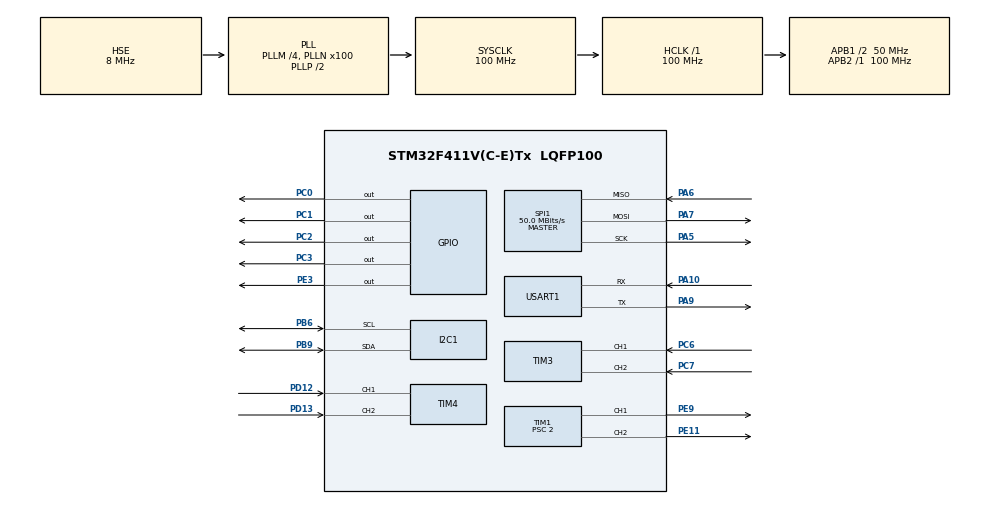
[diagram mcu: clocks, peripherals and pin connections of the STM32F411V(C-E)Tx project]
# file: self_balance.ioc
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FREERTOS.Tasks01=defaultTask,0,128,StartDefaultTask,Default,NULL,Dynamic,NULL,NULL
FREERTOS.configUSE_NEWLIB_REENTRANT=1
Mcu.Family=STM32F4
Mcu.Name=STM32F411V(C-E)Tx
Mcu.Package=LQFP100
NVIC.PriorityGroup=NVIC_PRIORITYGROUP_4
NVIC.TIM2_IRQn=true\:15\:0\:false\:false\:true\:false\:false\:true\:true
NVIC.TimeBase=TIM2_IRQn
NVIC.TimeBaseIP=TIM2
PA10.Mode=Asynchronous
PA10.Signal=USART1_RX
PA13.Mode=Serial_Wire
PA13.Signal=SYS_JTMS-SWDIO
PA14.Mode=Serial_Wire
PA14.Signal=SYS_JTCK-SWCLK
PA5.Mode=Full_Duplex_Master
PA5.Signal=SPI1_SCK
PA6.Mode=Full_Duplex_Master
PA6.Signal=SPI1_MISO
PA7.Mode=Full_Duplex_Master
PA7.Signal=SPI1_MOSI
PA9.Mode=Asynchronous
PA9.Signal=USART1_TX
PB6.Mode=I2C
PB6.Signal=I2C1_SCL
PB9.Mode=I2C
PB9.Signal=I2C1_SDA
PC0.Signal=GPIO_Output
PC1.Signal=GPIO_Output
PC2.Signal=GPIO_Output
PC3.Signal=GPIO_Output
PC6.Signal=S_TIM3_CH1
PC7.Signal=S_TIM3_CH2
PD12.Signal=S_TIM4_CH1
PD13.Signal=S_TIM4_CH2
PE11.Signal=S_TIM1_CH2
PE3.PinState=GPIO_PIN_SET
PE3.Signal=GPIO_Output
PE9.Signal=S_TIM1_CH1
PH0\ -\ OSC_IN.Mode=HSE-External-Oscillator
PH0\ -\ OSC_IN.Signal=RCC_OSC_IN
PH1\ -\ OSC_OUT.Mode=HSE-External-Oscillator
PH1\ -\ OSC_OUT.Signal=RCC_OSC_OUT
ProjectManager.HeapSize=0x200
ProjectManager.StackSize=0x400
ProjectManager.TargetToolchain=STM32CubeIDE
RCC.48MHZClocksFreq_Value=50000000
RCC.AHBFreq_Value=100000000
RCC.APB1CLKDivider=RCC_HCLK_DIV2
RCC.APB1Freq_Value=50000000
RCC.APB1TimFreq_Value=100000000
RCC.APB2Freq_Value=100000000
RCC.APB2TimFreq_Value=100000000
RCC.CortexFreq_Value=100000000
RCC.HCLKFreq_Value=100000000
RCC.HSE_VALUE=8000000
RCC.HSI_VALUE=16000000
RCC.LSE_VALUE=32768
RCC.PLLM=4
RCC.PLLN=100
RCC.PLLSourceVirtual=RCC_PLLSOURCE_HSE
RCC.SYSCLKFreq_VALUE=100000000
RCC.SYSCLKSource=RCC_SYSCLKSOURCE_PLLCLK
RCC.VCOOutputFreq_Value=200000000
SH.S_TIM1_CH1.0=TIM1_CH1,PWM Generation1 CH1
SH.S_TIM1_CH2.0=TIM1_CH2,PWM Generation2 CH2
SH.S_TIM3_CH1.0=TIM3_CH1,Encoder_Interface
SH.S_TIM3_CH2.0=TIM3_CH2,Encoder_Interface
SH.S_TIM4_CH1.0=TIM4_CH1,Encoder_Interface
SH.S_TIM4_CH2.0=TIM4_CH2,Encoder_Interface
SPI1.CalculateBaudRate=50.0 MBits/s
SPI1.Direction=SPI_DIRECTION_2LINES
SPI1.Mode=SPI_MODE_MASTER
SPI1.VirtualType=VM_MASTER
TIM1.Channel-PWM\ Generation1\ CH1=TIM_CHANNEL_1
TIM1.Channel-PWM\ Generation2\ CH2=TIM_CHANNEL_2
TIM1.Period=4096
TIM1.Prescaler=2
TIM3.EncoderMode=TIM_ENCODERMODE_TI12
TIM4.EncoderMode=TIM_ENCODERMODE_TI12
USART1.VirtualMode=VM_ASYNC
VP_FREERTOS_VS_CMSIS_V1.Mode=CMSIS_V1
VP_SYS_VS_tim2.Mode=TIM2
VP_TIM1_VS_ClockSourceINT.Mode=Internal
board=custom

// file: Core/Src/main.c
/* USER CODE BEGIN Header */
/**
  ******************************************************************************
  * @file           : main.c
  * @brief          : Main program body
  ******************************************************************************
  * @attention
  *
  * Copyright (c) 2025 STMicroelectronics.
  * All rights reserved.
  *
  * This software is licensed under terms that can be found in the LICENSE file
  * in the root directory of this software component.
  * If no LICENSE file comes with this software, it is provided AS-IS.
  *
  ******************************************************************************
  */
/* USER CODE END Header */
#include "main.h"

/* USER CODE BEGIN Includes */
#include "FreeRTOS.h"
#include "task.h"
#include "timers.h"
#include "queue.h"
#include "semphr.h"
#include "event_groups.h"
#include "LSM303.h"
#include "I3G4250D.h"
#include "Kalman.h"
#include "PID.h"
#include "Encoder.h"
#include <string.h>
#include <stdio.h>
#include <math.h>

/* USER CODE END Includes */

/* USER CODE BEGIN PD */
#define MOTOR_MIN_RIGHT 530
#define MOTOR_MIN_LEFT 450
#define MOTOR_MAX_PWM 999
/* USER CODE END PD */

I2C_HandleTypeDef hi2c1;

SPI_HandleTypeDef hspi1;

TIM_HandleTypeDef htim1;
TIM_HandleTypeDef htim3;
TIM_HandleTypeDef htim4;

UART_HandleTypeDef huart1;
/* USER CODE BEGIN PV */
uint8_t whoami = 0;
// EncoderData speed;
KalmanFilter kf;
float roll;
float speed_left;
float speed_right;
float velocity;
/* USER CODE END PV */

void SystemClock_Config(void);
static void MX_GPIO_Init(void);
static void MX_I2C1_Init(void);
static void MX_SPI1_Init(void);
static void MX_TIM1_Init(void);
static void MX_TIM3_Init(void);
static void MX_TIM4_Init(void);
static void MX_USART1_UART_Init(void);

/* USER CODE BEGIN PFP */
void MotorControlLeft(float Signal);
void MotorControlRight(float Signal);
/* USER CODE END PFP */

/* USER CODE BEGIN 0 */
//TASK HANDLER
xTaskHandle IMU_Task_Handle;
xTaskHandle Control_Task_Handle;
//QUEUE HANDLER
xQueueHandle Angle_Queue;
//TASK FUNCTION
void IMU_Task(void *argument);
void Control_Task(void *argument);
/* USER CODE END 0 */

int main(void)
{

  /* MCU Configuration--------------------------------------------------------*/

  /* Reset of all peripherals, Initializes the Flash interface and the Systick. */
  HAL_Init();

  /* Configure the system clock */
  SystemClock_Config();

  /* Initialize all configured peripherals */
  MX_GPIO_Init();
  MX_I2C1_Init();
  MX_SPI1_Init();
  MX_TIM1_Init();
  MX_TIM3_Init();
  MX_TIM4_Init();
  MX_USART1_UART_Init();
  /* USER CODE BEGIN 2 */
  I3G4250D_Init();
  LSM303_Init();
  Kalman_Init(&kf, 0.005f);
  HAL_TIM_PWM_Start(&htim1, TIM_CHANNEL_1);
  HAL_TIM_PWM_Start(&htim1, TIM_CHANNEL_2);
  Encoder_Init(&htim4, &htim3);
  // PIDController left_pid;
  // PIDController right_pid;
  // PIDController_Init(&left_pid);
  // left_pid.Kp = 500.0f;
  // left_pid.Ki = 450.0f;
  // left_pid.Kd = 0.0f;
  // left_pid.limMax = 4096.0f;
  // left_pid.limMin = -4096.0f;
  // left_pid.limMaxInt = 4096.0f;
  // left_pid.limMinInt = -4096.0f;
  // PIDController_Init(&right_pid);
  // right_pid.Kp = 520.0f;
  // right_pid.Ki = 450.0f;
  // right_pid.Kd = 0.0f;
  // right_pid.limMax = 4096.0f;
  // right_pid.limMin = -4096.0f;
  // right_pid.limMaxInt = 4096.0f;
  // right_pid.limMinInt = -4096.0f;
  Angle_Queue = xQueueCreate(1, sizeof(float));
  xTaskCreate(IMU_Task, "IMU Task", 256, NULL, 4, &IMU_Task_Handle);
  xTaskCreate(Control_Task, "Control Task", 256, NULL, 5, &Control_Task_Handle);
  vTaskStartScheduler();
  // TickType_t lasttime = HAL_GetTick();
  // HAL_Delay(15000);
  /* USER CODE END 2 */

  /* We should never get here as control is now taken by the scheduler */

  /* Infinite loop */
  /* USER CODE BEGIN WHILE */
  while (1)
  {
    // uint32_t now = HAL_GetTick();
    // static uint32_t lasttime = 0;
    // if (now - lasttime >= 5)
    // {
    //   lasttime = now;
    //   Encoder_GetSpeed(&speed);
    //   speed_left = PIDController_Update(&left_pid, 75, speed.left_speed);
    //   speed_right = PIDController_Update(&right_pid, 75, speed.right_speed);
    //   MotorControlLeft(speed_left);
    //   MotorControlRight(speed_right);
    // }

    /* USER CODE END WHILE */

  }
}

void SystemClock_Config(void)
{
  RCC_OscInitTypeDef RCC_OscInitStruct = {0};
  RCC_ClkInitTypeDef RCC_ClkInitStruct = {0};

  /** Configure the main internal regulator output voltage
  */
  __HAL_RCC_PWR_CLK_ENABLE();
  __HAL_PWR_VOLTAGESCALING_CONFIG(PWR_REGULATOR_VOLTAGE_SCALE1);

  /** Initializes the RCC Oscillators according to the specified parameters
  * in the RCC_OscInitTypeDef structure.
  */
  RCC_OscInitStruct.OscillatorType = RCC_OSCILLATORTYPE_HSE;
  RCC_OscInitStruct.HSEState = RCC_HSE_ON;
  RCC_OscInitStruct.PLL.PLLState = RCC_PLL_ON;
  RCC_OscInitStruct.PLL.PLLSource = RCC_PLLSOURCE_HSE;
  RCC_OscInitStruct.PLL.PLLM = 4;
  RCC_OscInitStruct.PLL.PLLN = 100;
  RCC_OscInitStruct.PLL.PLLP = RCC_PLLP_DIV2;
  RCC_OscInitStruct.PLL.PLLQ = 4;
  if (HAL_RCC_OscConfig(&RCC_OscInitStruct) != HAL_OK)
  {
    Error_Handler();
  }

  /** Initializes the CPU, AHB and APB buses clocks
  */
  RCC_ClkInitStruct.ClockType = RCC_CLOCKTYPE_HCLK|RCC_CLOCKTYPE_SYSCLK
                              |RCC_CLOCKTYPE_PCLK1|RCC_CLOCKTYPE_PCLK2;
  RCC_ClkInitStruct.SYSCLKSource = RCC_SYSCLKSOURCE_PLLCLK;
  RCC_ClkInitStruct.AHBCLKDivider = RCC_SYSCLK_DIV1;
  RCC_ClkInitStruct.APB1CLKDivider = RCC_HCLK_DIV2;
  RCC_ClkInitStruct.APB2CLKDivider = RCC_HCLK_DIV1;

  if (HAL_RCC_ClockConfig(&RCC_ClkInitStruct, FLASH_LATENCY_3) != HAL_OK)
  {
    Error_Handler();
  }
}

static void MX_I2C1_Init(void)
{

  hi2c1.Instance = I2C1;
  hi2c1.Init.ClockSpeed = 100000;
  hi2c1.Init.DutyCycle = I2C_DUTYCYCLE_2;
  hi2c1.Init.OwnAddress1 = 0;
  hi2c1.Init.AddressingMode = I2C_ADDRESSINGMODE_7BIT;
  hi2c1.Init.DualAddressMode = I2C_DUALADDRESS_DISABLE;
  hi2c1.Init.OwnAddress2 = 0;
  hi2c1.Init.GeneralCallMode = I2C_GENERALCALL_DISABLE;
  hi2c1.Init.NoStretchMode = I2C_NOSTRETCH_DISABLE;
  if (HAL_I2C_Init(&hi2c1) != HAL_OK)
  {
    Error_Handler();
  }

}

static void MX_SPI1_Init(void)
{

  /* SPI1 parameter configuration*/
  hspi1.Instance = SPI1;
  hspi1.Init.Mode = SPI_MODE_MASTER;
  hspi1.Init.Direction = SPI_DIRECTION_2LINES;
  hspi1.Init.DataSize = SPI_DATASIZE_8BIT;
  hspi1.Init.CLKPolarity = SPI_POLARITY_LOW;
  hspi1.Init.CLKPhase = SPI_PHASE_1EDGE;
  hspi1.Init.NSS = SPI_NSS_SOFT;
  hspi1.Init.BaudRatePrescaler = SPI_BAUDRATEPRESCALER_2;
  hspi1.Init.FirstBit = SPI_FIRSTBIT_MSB;
  hspi1.Init.TIMode = SPI_TIMODE_DISABLE;
  hspi1.Init.CRCCalculation = SPI_CRCCALCULATION_DISABLE;
  hspi1.Init.CRCPolynomial = 10;
  if (HAL_SPI_Init(&hspi1) != HAL_OK)
  {
    Error_Handler();
  }

}

static void MX_TIM1_Init(void)
{

  TIM_ClockConfigTypeDef sClockSourceConfig = {0};
  TIM_MasterConfigTypeDef sMasterConfig = {0};
  TIM_OC_InitTypeDef sConfigOC = {0};
  TIM_BreakDeadTimeConfigTypeDef sBreakDeadTimeConfig = {0};

  htim1.Instance = TIM1;
  htim1.Init.Prescaler = 9;
  htim1.Init.CounterMode = TIM_COUNTERMODE_UP;
  htim1.Init.Period = 999;
  htim1.Init.ClockDivision = TIM_CLOCKDIVISION_DIV1;
  htim1.Init.RepetitionCounter = 0;
  htim1.Init.AutoReloadPreload = TIM_AUTORELOAD_PRELOAD_DISABLE;
  if (HAL_TIM_Base_Init(&htim1) != HAL_OK)
  {
    Error_Handler();
  }
  sClockSourceConfig.ClockSource = TIM_CLOCKSOURCE_INTERNAL;
  if (HAL_TIM_ConfigClockSource(&htim1, &sClockSourceConfig) != HAL_OK)
  {
    Error_Handler();
  }
  if (HAL_TIM_PWM_Init(&htim1) != HAL_OK)
  {
    Error_Handler();
  }
  sMasterConfig.MasterOutputTrigger = TIM_TRGO_RESET;
  sMasterConfig.MasterSlaveMode = TIM_MASTERSLAVEMODE_DISABLE;
  if (HAL_TIMEx_MasterConfigSynchronization(&htim1, &sMasterConfig) != HAL_OK)
  {
    Error_Handler();
  }
  sConfigOC.OCMode = TIM_OCMODE_PWM1;
  sConfigOC.Pulse = 0;
  sConfigOC.OCPolarity = TIM_OCPOLARITY_HIGH;
  sConfigOC.OCNPolarity = TIM_OCNPOLARITY_HIGH;
  sConfigOC.OCFastMode = TIM_OCFAST_DISABLE;
  sConfigOC.OCIdleState = TIM_OCIDLESTATE_RESET;
  sConfigOC.OCNIdleState = TIM_OCNIDLESTATE_RESET;
  if (HAL_TIM_PWM_ConfigChannel(&htim1, &sConfigOC, TIM_CHANNEL_1) != HAL_OK)
  {
    Error_Handler();
  }
  if (HAL_TIM_PWM_ConfigChannel(&htim1, &sConfigOC, TIM_CHANNEL_2) != HAL_OK)
  {
    Error_Handler();
  }
  sBreakDeadTimeConfig.OffStateRunMode = TIM_OSSR_DISABLE;
  sBreakDeadTimeConfig.OffStateIDLEMode = TIM_OSSI_DISABLE;
  sBreakDeadTimeConfig.LockLevel = TIM_LOCKLEVEL_OFF;
  sBreakDeadTimeConfig.DeadTime = 0;
  sBreakDeadTimeConfig.BreakState = TIM_BREAK_DISABLE;
  sBreakDeadTimeConfig.BreakPolarity = TIM_BREAKPOLARITY_HIGH;
  sBreakDeadTimeConfig.AutomaticOutput = TIM_AUTOMATICOUTPUT_DISABLE;
  if (HAL_TIMEx_ConfigBreakDeadTime(&htim1, &sBreakDeadTimeConfig) != HAL_OK)
  {
    Error_Handler();
  }
  HAL_TIM_MspPostInit(&htim1);

}

static void MX_TIM3_Init(void)
{

  TIM_Encoder_InitTypeDef sConfig = {0};
  TIM_MasterConfigTypeDef sMasterConfig = {0};

  htim3.Instance = TIM3;
  htim3.Init.Prescaler = 0;
  htim3.Init.CounterMode = TIM_COUNTERMODE_UP;
  htim3.Init.Period = 65535;
  htim3.Init.ClockDivision = TIM_CLOCKDIVISION_DIV1;
  htim3.Init.AutoReloadPreload = TIM_AUTORELOAD_PRELOAD_DISABLE;
  sConfig.EncoderMode = TIM_ENCODERMODE_TI12;
  sConfig.IC1Polarity = TIM_ICPOLARITY_RISING;
  sConfig.IC1Selection = TIM_ICSELECTION_DIRECTTI;
  sConfig.IC1Prescaler = TIM_ICPSC_DIV1;
  sConfig.IC1Filter = 0;
  sConfig.IC2Polarity = TIM_ICPOLARITY_RISING;
  sConfig.IC2Selection = TIM_ICSELECTION_DIRECTTI;
  sConfig.IC2Prescaler = TIM_ICPSC_DIV1;
  sConfig.IC2Filter = 0;
  if (HAL_TIM_Encoder_Init(&htim3, &sConfig) != HAL_OK)
  {
    Error_Handler();
  }
  sMasterConfig.MasterOutputTrigger = TIM_TRGO_RESET;
  sMasterConfig.MasterSlaveMode = TIM_MASTERSLAVEMODE_DISABLE;
  if (HAL_TIMEx_MasterConfigSynchronization(&htim3, &sMasterConfig) != HAL_OK)
  {
    Error_Handler();
  }

}

static void MX_TIM4_Init(void)
{

  TIM_Encoder_InitTypeDef sConfig = {0};
  TIM_MasterConfigTypeDef sMasterConfig = {0};

  htim4.Instance = TIM4;
  htim4.Init.Prescaler = 0;
  htim4.Init.CounterMode = TIM_COUNTERMODE_UP;
  htim4.Init.Period = 65535;
  htim4.Init.ClockDivision = TIM_CLOCKDIVISION_DIV1;
  htim4.Init.AutoReloadPreload = TIM_AUTORELOAD_PRELOAD_DISABLE;
  sConfig.EncoderMode = TIM_ENCODERMODE_TI12;
  sConfig.IC1Polarity = TIM_ICPOLARITY_RISING;
  sConfig.IC1Selection = TIM_ICSELECTION_DIRECTTI;
  sConfig.IC1Prescaler = TIM_ICPSC_DIV1;
  sConfig.IC1Filter = 0;
  sConfig.IC2Polarity = TIM_ICPOLARITY_RISING;
  sConfig.IC2Selection = TIM_ICSELECTION_DIRECTTI;
  sConfig.IC2Prescaler = TIM_ICPSC_DIV1;
  sConfig.IC2Filter = 0;
  if (HAL_TIM_Encoder_Init(&htim4, &sConfig) != HAL_OK)
  {
    Error_Handler();
  }
  sMasterConfig.MasterOutputTrigger = TIM_TRGO_RESET;
  sMasterConfig.MasterSlaveMode = TIM_MASTERSLAVEMODE_DISABLE;
  if (HAL_TIMEx_MasterConfigSynchronization(&htim4, &sMasterConfig) != HAL_OK)
  {
    Error_Handler();
  }

}

static void MX_USART1_UART_Init(void)
{

  huart1.Instance = USART1;
  huart1.Init.BaudRate = 115200;
  huart1.Init.WordLength = UART_WORDLENGTH_8B;
  huart1.Init.StopBits = UART_STOPBITS_1;
  huart1.Init.Parity = UART_PARITY_NONE;
  huart1.Init.Mode = UART_MODE_TX_RX;
  huart1.Init.HwFlowCtl = UART_HWCONTROL_NONE;
  huart1.Init.OverSampling = UART_OVERSAMPLING_16;
  if (HAL_UART_Init(&huart1) != HAL_OK)
  {
    Error_Handler();
  }

}

static void MX_GPIO_Init(void)
{
  GPIO_InitTypeDef GPIO_InitStruct = {0};

  /* GPIO Ports Clock Enable */
  __HAL_RCC_GPIOE_CLK_ENABLE();
  __HAL_RCC_GPIOH_CLK_ENABLE();
  __HAL_RCC_GPIOC_CLK_ENABLE();
  __HAL_RCC_GPIOA_CLK_ENABLE();
  __HAL_RCC_GPIOD_CLK_ENABLE();
  __HAL_RCC_GPIOB_CLK_ENABLE();

  /*Configure GPIO pin Output Level */
  HAL_GPIO_WritePin(GPIOE, GPIO_PIN_3, GPIO_PIN_SET);

  /*Configure GPIO pin Output Level */
  HAL_GPIO_WritePin(GPIOC, GPIO_PIN_0|GPIO_PIN_1|GPIO_PIN_2|GPIO_PIN_3, GPIO_PIN_RESET);

  /*Configure GPIO pin : PE3 */
  GPIO_InitStruct.Pin = GPIO_PIN_3;
  GPIO_InitStruct.Mode = GPIO_MODE_OUTPUT_PP;
  GPIO_InitStruct.Pull = GPIO_NOPULL;
  GPIO_InitStruct.Speed = GPIO_SPEED_FREQ_LOW;
  HAL_GPIO_Init(GPIOE, &GPIO_InitStruct);

  /*Configure GPIO pins : PC0 PC1 PC2 PC3 */
  GPIO_InitStruct.Pin = GPIO_PIN_0|GPIO_PIN_1|GPIO_PIN_2|GPIO_PIN_3;
  GPIO_InitStruct.Mode = GPIO_MODE_OUTPUT_PP;
  GPIO_InitStruct.Pull = GPIO_NOPULL;
  GPIO_InitStruct.Speed = GPIO_SPEED_FREQ_LOW;
  HAL_GPIO_Init(GPIOC, &GPIO_InitStruct);

}

/* USER CODE BEGIN 4 */
void MotorControlLeft(float Signal)
{
  uint32_t pwmleft = (uint32_t)(fabs(Signal));
  pwmleft = MOTOR_MIN_LEFT + (pwmleft * (MOTOR_MAX_PWM - MOTOR_MIN_LEFT) / MOTOR_MAX_PWM);
  if (Signal > 0)
  {
    HAL_GPIO_WritePin(GPIOC, GPIO_PIN_0, GPIO_PIN_RESET);
    HAL_GPIO_WritePin(GPIOC, GPIO_PIN_1, GPIO_PIN_SET);
    __HAL_TIM_SET_COMPARE(&htim1, TIM_CHANNEL_1, pwmleft);
  } else {
    HAL_GPIO_WritePin(GPIOC, GPIO_PIN_0, GPIO_PIN_SET);
    HAL_GPIO_WritePin(GPIOC, GPIO_PIN_1, GPIO_PIN_RESET);
    __HAL_TIM_SET_COMPARE(&htim1, TIM_CHANNEL_1, pwmleft);
  }
}
void MotorControlRight(float Signal)
{
  uint32_t pwmright = (uint32_t)(fabs(Signal));
  pwmright = MOTOR_MIN_RIGHT + (pwmright * (MOTOR_MAX_PWM - MOTOR_MIN_RIGHT) / MOTOR_MAX_PWM);
  if (Signal > 0)
  {
    HAL_GPIO_WritePin(GPIOC, GPIO_PIN_2, GPIO_PIN_RESET);
    HAL_GPIO_WritePin(GPIOC, GPIO_PIN_3, GPIO_PIN_SET);
    __HAL_TIM_SET_COMPARE(&htim1, TIM_CHANNEL_2, pwmright);
  } else {
    HAL_GPIO_WritePin(GPIOC, GPIO_PIN_2, GPIO_PIN_SET);
    HAL_GPIO_WritePin(GPIOC, GPIO_PIN_3, GPIO_PIN_RESET);
    __HAL_TIM_SET_COMPARE(&htim1, TIM_CHANNEL_2, pwmright);
  }
}
void IMU_Task(void *argument)
{
  LSM303_AccelData accelData;
  I3G4250D_GyroData gyroData;

  float accel_roll;
  TickType_t xLastWakeTime = xTaskGetTickCount();
  const TickType_t xFrequency = pdMS_TO_TICKS(5);
  while (1)
  {
    LSM303_ReadAccel(&accelData);
    I3G4250D_ReadGyro(&gyroData);
    accel_roll = atan2f((float)accelData.y, (float)accelData.z) * 180.0f / 3.14159f;
    Kalman_Predict(&kf, gyroData.x_rps);
    Kalman_Update(&kf, accel_roll);
    roll = Kalman_GetRoll(&kf);
    xQueueOverwrite(Angle_Queue, &roll);
  	vTaskDelayUntil(&xLastWakeTime, xFrequency);
  }
}

void Control_Task(void *argument)
{
  float receivedAngle;

  // PIDController angle_pid;
  // PIDController_Init(&angle_pid);
  // angle_pid.Kp = 6.5f;
  // angle_pid.Ki = 0.0f;
  // angle_pid.Kd = 3.0f;
  // angle_pid.limMax = 120.0f;
  // angle_pid.limMin = -120.0f;
  // angle_pid.limMaxInt = 120.0f;
  // angle_pid.limMinInt = -120.0f;
  PIDController left_pid;
  PIDController right_pid;
  PIDController_Init(&left_pid);
  left_pid.Kp = 60.0f;
  left_pid.Ki = 100.0f;
  left_pid.Kd = 0.036f;
  left_pid.limMax = 999.0f;
  left_pid.limMin = -999.0f;
  left_pid.limMaxInt = 299.0f;
  left_pid.limMinInt = -299.0f;
  PIDController_Init(&right_pid);
  right_pid.Kp = 65.0f;
  right_pid.Ki = 100.0f;
  right_pid.Kd = 0.036f;
  right_pid.limMax = 999.0f;
  right_pid.limMin = -999.0f;
  right_pid.limMaxInt = 299.0f;
  right_pid.limMinInt = -299.0f;
  TickType_t xLastWakeTime = xTaskGetTickCount();
  const TickType_t xFrequency = pdMS_TO_TICKS(5);
  while (1)
  {
    if(xQueueReceive(Angle_Queue, &receivedAngle, portMAX_DELAY) == pdPASS)
    {
      speed_left = PIDController_Update(&left_pid, 0.8f, receivedAngle);
      speed_right = PIDController_Update(&right_pid, 0.8f, receivedAngle);
      MotorControlLeft(speed_left);
      MotorControlRight(speed_right);
      vTaskDelayUntil(&xLastWakeTime, xFrequency);
    }
  }

}
/* USER CODE END 4 */

void HAL_TIM_PeriodElapsedCallback(TIM_HandleTypeDef *htim)
{
  if (htim->Instance == TIM2)
  {
    HAL_IncTick();
  }
}

void Error_Handler(void)
{
  __disable_irq();
  while (1)
  {
  }
}
